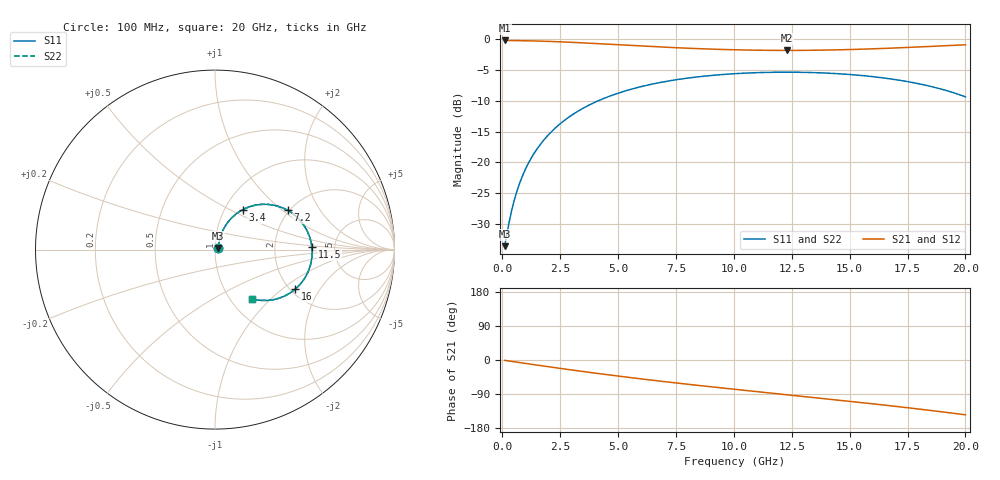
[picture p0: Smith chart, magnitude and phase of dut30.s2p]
! Touchstone file exported from HFSS 2026.1.0
!  File:  C:/ffzhzh/LocalFiles/Ansys_Project_Files/temp_train_TSV_RDL_30_1782964044_6388.aedt
!  Generated:  12:04:12 PM Jul  2, 2026
!  Design:  TSV_RDL
!  Project:  temp_train_TSV_RDL_30_1782964044_6388
! Variables:
!  h_bsmrdl = 4.02um
!  h_ox = 20um
!  h_rdl = 5um
!  h_sub = 96.93um
!  h_tmrdl = 4.97um
!  h_tsv = 96.93um
!  h_via = 3um
!  l_bsmrdl = 105.1um
!  l_sub = 2264.32um
!  l_tmrdl = 358.11um
!  m_sub = 200um
!  pitch = 46.5um
!  r_tsv = 2.43um
!  s_tmrdl = 10um
!  w_bsmrdl = 12.63um
!  w_sub = 500um
!  w_tmrdl = 26.23um
!  x_tsv_center1 = 371.225um
!  x_tsv_center2 = 488.955um
!  x_tsv_center3 = 873.295um
!  x_tsv_center4 = 991.025um
!  x_tsv_center5 = 1375.365um
!  x_tsv_center6 = 1493.095um
# GHz S MA R 50.000000
! Terminal data exported
! Port[1] = TM_RDL1_1_T1
! Port[2] = TM_RDL5_1_T1
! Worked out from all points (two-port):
!   200 points, 100 MHz to 20 GHz, reference 50 ohm
!   highest |S21| = -0.16 dB at 100 MHz (marker M1); lowest = -1.8 dB at 12.3 GHz (marker M2)
!   |S21| within 3 dB of the highest: start of sweep to end of sweep
!   lowest |S11| = -33.6 dB at 100 MHz (marker M3), VSWR 1.04, Z = 51.9 + j0.918 ohm
!   |S11| at or under -10 dB: start of sweep to 4.133 GHz
!   |S22| runs from -33.6 to -5.3 dB; largest |S21 - S12| = 1.5e-14
!   S11 on the Smith chart (normalised r, x): 100 MHz: 1.04, +0.02; 3.4 GHz: 1.21, +0.58; 7.2 GHz: 1.96, +1.09; 11.5 GHz: 3.34, +0.12; 16 GHz: 2.12, -1.24; 20 GHz: 1.25, -0.77
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0.1  0.02077 25.2  0.9813 -0.9  0.9813 -0.9  0.02077 25.2
! Gamma 0 0 0 0
! Port Impedance 50 0 50 0
0.4  0.04015 57.1  0.9798 -3.6  0.9798 -3.6  0.04015 57.1
0.6  0.05563 63.6  0.9788 -5.4  0.9788 -5.4  0.05563 63.6
0.9  0.07979 67.2  0.9768 -8.1  0.9768 -8.1  0.07979 67.2
1.2  0.1042 67.8  0.9742 -10.8  0.9742 -10.8  0.1042 67.8
1.6  0.1365 66.8  0.9698 -14.3  0.9698 -14.3  0.1365 66.8
2.1  0.1758 64.2  0.9629 -18.7  0.9629 -18.7  0.1758 64.2
2.7  0.2207 60.3  0.953 -23.9  0.953 -23.9  0.2207 60.3
3.4  0.2696 55.3  0.9396 -29.7  0.9396 -29.7  0.2696 55.3
3.5  0.2763 54.6  0.9376 -30.5  0.9376 -30.5  0.2763 54.6
5  0.3652 43.7  0.9058 -42.4  0.9058 -42.4  0.3652 43.7
6.8  0.4456 31.1  0.869 -55.7  0.869 -55.7  0.4456 31.1
7.2  0.4598 28.4  0.8617 -58.5  0.8617 -58.5  0.4598 28.4
8.7  0.5021 18.7  0.8383 -68.6  0.8383 -68.6  0.5021 18.7
10.1  0.5273 9.9  0.8233 -77.7  0.8233 -77.7  0.5273 9.9
11.5  0.5398 1.4  0.8154 -86.6  0.8154 -86.6  0.5398 1.4
12.3  0.5416 -3.5  0.8142 -91.7  0.8142 -91.7  0.5416 -3.5
13.4  0.5377 -10.2  0.8164 -98.6  0.8164 -98.6  0.5377 -10.2
16  0.498 -26.3  0.8387 -115.6  0.8387 -115.6  0.498 -26.3
16.7  0.4795 -30.8  0.8483 -120.3  0.8483 -120.3  0.4795 -30.8
18.4  0.4192 -42.1  0.876 -132.4  0.876 -132.4  0.4192 -42.1
20  0.3414 -53.2  0.9048 -144.6  0.9048 -144.6  0.3414 -53.2
